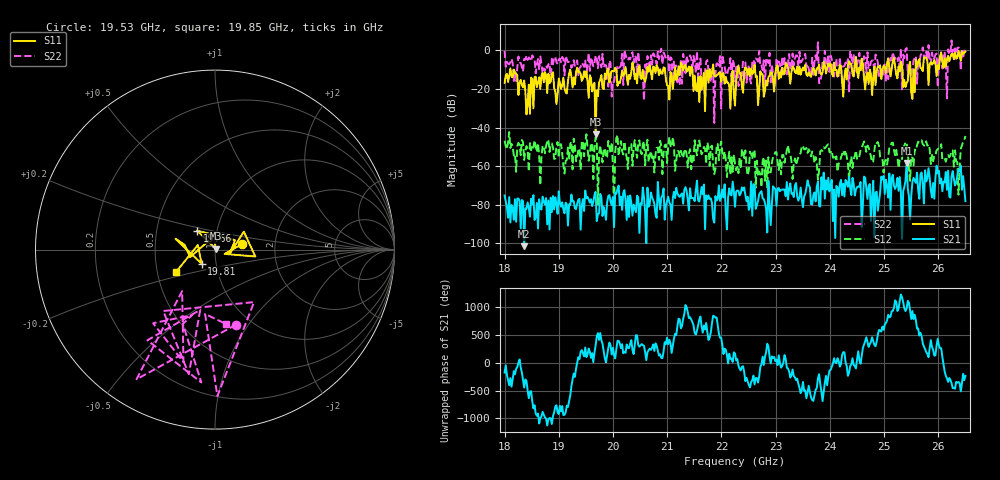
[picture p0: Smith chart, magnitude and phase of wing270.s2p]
!Keysight Technologies,N5242B,MY47200105,A.14.00.23
!Date: Friday, May 10, 2024 11:15:48
!Correction: S11(C  2-Port  )
!S21(C  2-Port  )
!S12(C  2-Port  )
!S22(C  2-Port  )
!S2P File: Measurement: :
# Hz S  RI  R 50
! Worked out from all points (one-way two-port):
!   401 points, 18 GHz to 26.5 GHz, reference 50 ohm
!   highest |S21| = -58.35 dB at 25.42 GHz (marker M1); lowest = -101.5 dB at 18.36 GHz (marker M2)
!   lowest |S11| = -43.5 dB at 19.68 GHz (marker M3), VSWR 1.01, Z = 50.3 + j0.602 ohm
!   |S11| at or under -10 dB: 18.17 GHz to 19.33 GHz (1.159 GHz wide, 6.18 % of centre); 19.35 GHz to 19.9 GHz (547.7 MHz wide, 2.79 % of centre); 21.86 GHz to 22.3 GHz (442.1 MHz wide, 2 % of centre) (the widest 3 of 60)
!   |S22| runs from -37.6 to 5.1 dB; largest |S21 - S12| = 0.0075
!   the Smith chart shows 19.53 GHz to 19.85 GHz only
!   S11 on the Smith chart (normalised r, x): 19.53 GHz: 1.36, +0.09; 19.66 GHz: 0.80, +0.17; 19.81 GHz: 0.85, -0.14; 19.85 GHz: 0.63, -0.17
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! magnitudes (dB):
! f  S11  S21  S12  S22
! 18 GHz  -16.8  -75.3  -46.8  -0.2
! 18.36 GHz  -15.7  -101.5  -56.8  -4.5
! 19.42 GHz  -15.8  -80.5  -46.9  -6.5
! 19.53 GHz  -16.2  -75.9  -50.2  -7.2
! 19.66 GHz  -16.8  -74.9  -50.4  -6.9
! 19.68 GHz  -43.5  -73.3  -45.0  -2.6
! 19.81 GHz  -19.3  -85.9  -58.1  -1.8
! 19.85 GHz  -12.0  -83.8  -50.7  -7.6
! 20.02 GHz  -10.8  -91.7  -83.1  -16.4
! 20.38 GHz  -9.2  -80.0  -50.4  -6.5
! 20.55 GHz  -10.1  -71.1  -48.6  -13.8
! 20.85 GHz  -12.8  -77.0  -56.7  -4.5
! 21.23 GHz  -12.8  -76.0  -55.1  -17.5
! 21.4 GHz  -8.3  -82.9  -53.4  -4.2
! 21.85 GHz  -7.3  -87.3  -59.2  -9.0
! 22.25 GHz  -28.7  -81.1  -58.6  -16.1
! 23.67 GHz  -10.8  -79.8  -52.5  -3.8
! 25.1 GHz  -9.0  -63.8  -50.1  -6.1
! 25.42 GHz  -16.9  -58.3  -47.8  1.2
! 26.12 GHz  -4.0  -68.5  -56.0  -0.7
! 26.35 GHz  -4.0  -64.9  -58.0  1.3
! 26.5 GHz  -0.6  -78.1  -44.4  0.5
